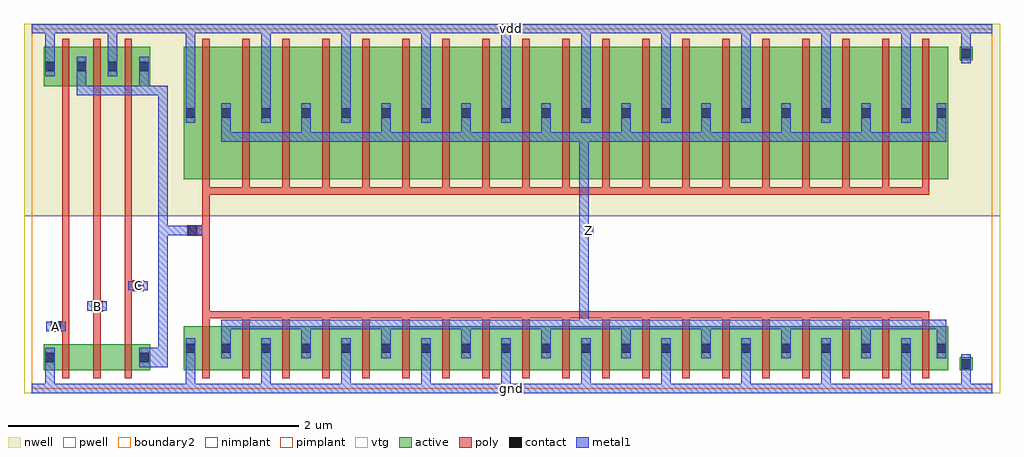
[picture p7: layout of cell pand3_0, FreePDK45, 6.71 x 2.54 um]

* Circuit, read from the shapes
.subckt pand3_0 A B C Z gnd vdd
M1 pnand3_0_0/nmos_m1_w0_180_sm1_dactive_3/D A gnd gnd nfet w=0.18u l=0.05u
M2 pnand3_0_0/nmos_m1_w0_180_sactive_dactive_4/D B pnand3_0_0/nmos_m1_w0_180_sm1_dactive_3/D gnd nfet w=0.18u l=0.05u
M3 pdriver_3_1/A C pnand3_0_0/nmos_m1_w0_180_sactive_dactive_4/D gnd nfet w=0.18u l=0.05u
M4 Z pdriver_3_1/A gnd gnd nfet w=0.3025u l=0.05u m=19
M5 pdriver_3_1/A A vdd vdd pfet w=0.27u l=0.05u
M6 vdd B pdriver_3_1/A vdd pfet w=0.27u l=0.05u
M7 pdriver_3_1/A C vdd vdd pfet w=0.27u l=0.05u
M8 Z pdriver_3_1/A vdd vdd pfet w=0.91u l=0.05u m=19
.ends

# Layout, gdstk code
import gdstk
lib = gdstk.Library(unit=1e-6, precision=5e-10)
def R(c, l, rs):  # rectangles x0, y0, x1, y1
    for r in rs: c.add(gdstk.rectangle(r[:2], r[2:], *l))
def A(c, l, x, y, w, h, nx, ny, dx, dy):  # array of equal rectangles
    R(c, l, [(x+i*dx, y+j*dy, x+i*dx+w, y+j*dy+h) for i in range(nx) for j in range(ny)])
active = (1, 0)
pwell = (2, 0)
nwell = (3, 0)
nimplant = (4, 0)
pimplant = (5, 0)
vtg = (6, 0)
poly = (9, 0)
contact = (10, 0)
metal1 = (11, 0)
boundary2 = (239, 0)

contact_10 = lib.new_cell('contact_10')
R(contact_10, active, [(0,0.0225,0.09,0.1125)])
R(contact_10, nwell, [(-0.055,-0.0325,0.145,0.1675)])
R(contact_10, pimplant, [(0,0.0225,0.09,0.1125)])
R(contact_10, contact, [(0.0125,0.035,0.0775,0.1)])
R(contact_10, metal1, [(0.0125,0,0.0775,0.135)])
R(contact_10, boundary2, [(-0.055,-0.0325,0.145,0.1675)])

pmos_m1_w0_270_sm1_dm1 = lib.new_cell('pmos_m1_w0_270_sm1_dm1')
R(pmos_m1_w0_270_sm1_dm1, active, [(0,0,0.305,0.27)])
R(pmos_m1_w0_270_sm1_dm1, nwell, [(-0.08,-0.08,0.385,0.35)])
R(pmos_m1_w0_270_sm1_dm1, pimplant, [(0,0,0.305,0.27)])
R(pmos_m1_w0_270_sm1_dm1, vtg, [(-0.08,-0.08,0.385,0.35)])
R(pmos_m1_w0_270_sm1_dm1, poly, [(0.1275,-0.055,0.1775,0.325), (0.1275,-0.055,0.1775,0.325)])
R(pmos_m1_w0_270_sm1_dm1, metal1, [(0.0125,0.0675,0.0775,0.2025), (0.2275,0.0675,0.2925,0.2025)])
R(pmos_m1_w0_270_sm1_dm1, boundary2, [(-0.08,-0.08,0.385,0.35)])
pmos_m1_w0_270_sm1_dm1.add(gdstk.Reference(contact_10, (0,0.0675)))
pmos_m1_w0_270_sm1_dm1.add(gdstk.Reference(contact_10, (0.215,0.0675)))
pmos_m1_w0_270_sm1_dm1.add(gdstk.Label('G', (0.1525,0.135), layer=9, texttype=0))
pmos_m1_w0_270_sm1_dm1.add(gdstk.Label('S', (0.045,0.135), layer=11, texttype=0))
pmos_m1_w0_270_sm1_dm1.add(gdstk.Label('D', (0.26,0.135), layer=11, texttype=0))

contact_9 = lib.new_cell('contact_9')
R(contact_9, active, [(0,0.0225,0.09,0.1125)])
R(contact_9, pwell, [(-0.055,-0.0325,0.145,0.1675)])
R(contact_9, nimplant, [(0,0.0225,0.09,0.1125)])
R(contact_9, contact, [(0.0125,0.035,0.0775,0.1)])
R(contact_9, metal1, [(0.0125,0,0.0775,0.135)])
R(contact_9, boundary2, [(-0.055,-0.0325,0.145,0.1675)])

nmos_m1_w0_180_sm1_dacti = lib.new_cell('nmos_m1_w0_180_sm1_dactive')
R(nmos_m1_w0_180_sm1_dacti, active, [(0,0,0.305,0.18), (0.215,0.045,0.305,0.135)])
R(nmos_m1_w0_180_sm1_dacti, pwell, [(-0.08,-0.08,0.385,0.26)])
R(nmos_m1_w0_180_sm1_dacti, nimplant, [(0,0,0.305,0.18)])
R(nmos_m1_w0_180_sm1_dacti, vtg, [(-0.08,-0.08,0.385,0.26)])
R(nmos_m1_w0_180_sm1_dacti, poly, [(0.1275,-0.055,0.1775,0.235), (0.1275,-0.055,0.1775,0.235)])
R(nmos_m1_w0_180_sm1_dacti, metal1, [(0.0125,0.0225,0.0775,0.1575)])
R(nmos_m1_w0_180_sm1_dacti, boundary2, [(-0.08,-0.08,0.385,0.26)])
nmos_m1_w0_180_sm1_dacti.add(gdstk.Reference(contact_9, (0,0.0225)))
nmos_m1_w0_180_sm1_dacti.add(gdstk.Label('G', (0.1525,0.09), layer=9, texttype=0))
nmos_m1_w0_180_sm1_dacti.add(gdstk.Label('S', (0.045,0.09), layer=11, texttype=0))
nmos_m1_w0_180_sm1_dacti.add(gdstk.Label('D', (0.26,0.09), layer=1, texttype=0))

nmos_m1_w0_180_sactive_d = lib.new_cell('nmos_m1_w0_180_sactive_dactive')
R(nmos_m1_w0_180_sactive_d, active, [(0,0,0.305,0.18), (0,0.045,0.09,0.135), (0.215,0.045,0.305,0.135)])
R(nmos_m1_w0_180_sactive_d, pwell, [(-0.08,-0.08,0.385,0.26)])
R(nmos_m1_w0_180_sactive_d, nimplant, [(0,0,0.305,0.18)])
R(nmos_m1_w0_180_sactive_d, vtg, [(-0.08,-0.08,0.385,0.26)])
R(nmos_m1_w0_180_sactive_d, poly, [(0.1275,-0.055,0.1775,0.235), (0.1275,-0.055,0.1775,0.235)])
R(nmos_m1_w0_180_sactive_d, boundary2, [(-0.08,-0.08,0.385,0.26)])
nmos_m1_w0_180_sactive_d.add(gdstk.Label('G', (0.1525,0.09), layer=9, texttype=0))
nmos_m1_w0_180_sactive_d.add(gdstk.Label('S', (0.045,0.09), layer=1, texttype=0))
nmos_m1_w0_180_sactive_d.add(gdstk.Label('D', (0.26,0.09), layer=1, texttype=0))

c_nmos_m1_w0_180_sactive_d = lib.new_cell('nmos_m1_w0_180_sactive_dm1')
R(c_nmos_m1_w0_180_sactive_d, active, [(0,0,0.305,0.18), (0,0.045,0.09,0.135)])
R(c_nmos_m1_w0_180_sactive_d, pwell, [(-0.08,-0.08,0.385,0.26)])
R(c_nmos_m1_w0_180_sactive_d, nimplant, [(0,0,0.305,0.18)])
R(c_nmos_m1_w0_180_sactive_d, vtg, [(-0.08,-0.08,0.385,0.26)])
R(c_nmos_m1_w0_180_sactive_d, poly, [(0.1275,-0.055,0.1775,0.235), (0.1275,-0.055,0.1775,0.235)])
R(c_nmos_m1_w0_180_sactive_d, metal1, [(0.2275,0.0225,0.2925,0.1575)])
R(c_nmos_m1_w0_180_sactive_d, boundary2, [(-0.08,-0.08,0.385,0.26)])
c_nmos_m1_w0_180_sactive_d.add(gdstk.Reference(contact_9, (0.215,0.0225)))
c_nmos_m1_w0_180_sactive_d.add(gdstk.Label('G', (0.1525,0.09), layer=9, texttype=0))
c_nmos_m1_w0_180_sactive_d.add(gdstk.Label('S', (0.045,0.09), layer=1, texttype=0))
c_nmos_m1_w0_180_sactive_d.add(gdstk.Label('D', (0.26,0.09), layer=11, texttype=0))

contact_13 = lib.new_cell('contact_13')
R(contact_13, poly, [(0.03,0,0.105,0.075)])
R(contact_13, contact, [(0.035,0.005,0.1,0.07)])
R(contact_13, metal1, [(0,0.005,0.135,0.07)])
R(contact_13, boundary2, [(0,0,0.135,0.075)])

pnand3_0 = lib.new_cell('pnand3_0')
R(pnand3_0, pwell, [(-0.055,-0.0325,1.02,1.1875)])
R(pnand3_0, nwell, [(-0.055,1.1875,1.02,2.51)])
R(pnand3_0, vtg, [(-0.055,-0.0325,1.02,1.1875), (-0.055,1.1875,1.02,2.51)])
A(pnand3_0, poly, 0.2075, 0.36, 0.05, 1.665, 3, 1, 0.215, 0)
R(pnand3_0, poly, [(0.165,0.39,0.2075,0.465), (0.4225,0.53,0.4475,0.605), (0.6375,0.67,0.73,0.745)])
R(pnand3_0, metal1, [(0,-0.0325,0.965,0.0325), (0.0925,-0.0325,0.1575,0.1475), (0.77,0.1475,0.9,0.2825), (0.8675,0.1475,0.9325,2.05), (0.0975,0.395,0.2325,0.46), (0.38,0.535,0.515,0.6), (0.6625,0.675,0.7975,0.74), (0.3075,2.0175,0.3725,2.0825), (0.34,2.0175,0.9,2.0825), (0.7375,2.0175,0.8025,2.0825), (0.77,2.0175,0.9,2.0825), (0.8675,2.0175,0.9325,2.0825), (0.3075,2.05,0.3725,2.215), (0.7375,2.05,0.8025,2.215), (0.0925,2.1475,0.1575,2.5075), (0.5225,2.1475,0.5875,2.5075), (0,2.4425,0.965,2.5075)])
R(pnand3_0, boundary2, [(0,0,0.965,2.475), (0,0,0.965,2.475)])
pnand3_0.add(gdstk.Reference(pmos_m1_w0_270_sm1_dm1, (0.08,2.08)))
pnand3_0.add(gdstk.Reference(pmos_m1_w0_270_sm1_dm1, (0.295,2.08)))
pnand3_0.add(gdstk.Reference(pmos_m1_w0_270_sm1_dm1, (0.51,2.08)))
pnand3_0.add(gdstk.Reference(nmos_m1_w0_180_sm1_dacti, (0.08,0.125)))
pnand3_0.add(gdstk.Reference(nmos_m1_w0_180_sactive_d, (0.295,0.125)))
pnand3_0.add(gdstk.Reference(c_nmos_m1_w0_180_sactive_d, (0.51,0.125)))
pnand3_0.add(gdstk.Reference(contact_13, (0.0975,0.39)))
pnand3_0.add(gdstk.Reference(contact_13, (0.38,0.53)))
pnand3_0.add(gdstk.Reference(contact_13, (0.6625,0.67)))
pnand3_0.add(gdstk.Label('A', (0.165,0.4275), layer=11, texttype=0))
pnand3_0.add(gdstk.Label('B', (0.4475,0.5675), layer=11, texttype=0))
pnand3_0.add(gdstk.Label('C', (0.73,0.7075), layer=11, texttype=0))
pnand3_0.add(gdstk.Label('Z', (0.9,2.05), layer=11, texttype=0))
pnand3_0.add(gdstk.Label('gnd', (0.4825,0), layer=11, texttype=0))
pnand3_0.add(gdstk.Label('vdd', (0.4825,2.475), layer=11, texttype=0))

pmos_m19_w0_910_sm1_dm1_ = lib.new_cell('pmos_m19_w0_910_sm1_dm1_da_p')
R(pmos_m19_w0_910_sm1_dm1_, active, [(0,0,5.255,0.91)])
R(pmos_m19_w0_910_sm1_dm1_, nwell, [(-0.08,-0.08,5.335,0.99)])
R(pmos_m19_w0_910_sm1_dm1_, pimplant, [(0,0,5.255,0.91)])
R(pmos_m19_w0_910_sm1_dm1_, vtg, [(-0.08,-0.08,5.335,0.99)])
A(pmos_m19_w0_910_sm1_dm1_, poly, 0.1275, -0.055, 0.05, 1.02, 19, 1, 0.275, 0)
R(pmos_m19_w0_910_sm1_dm1_, poly, [(0.1275,-0.105,5.1275,-0.055)])
A(pmos_m19_w0_910_sm1_dm1_, metal1, 0.2575, 0.29, 0.065, 0.165, 9, 1, 0.55, 0)
A(pmos_m19_w0_910_sm1_dm1_, metal1, 0.5325, 0.3875, 0.065, 0.135, 9, 1, 0.55, 0)
R(pmos_m19_w0_910_sm1_dm1_, metal1, [(0.2575,0.2575,5.2425,0.3225), (5.1775,0.29,5.2425,0.455), (0.0125,0.3875,0.0775,0.5225)])
R(pmos_m19_w0_910_sm1_dm1_, boundary2, [(-0.08,-0.08,5.335,0.99)])
pmos_m19_w0_910_sm1_dm1_.add(gdstk.Reference(contact_10, (0,0.3875)))
pmos_m19_w0_910_sm1_dm1_.add(gdstk.Reference(contact_10, (0.245,0.3875)))
pmos_m19_w0_910_sm1_dm1_.add(gdstk.Reference(contact_10, (0.52,0.3875)))
pmos_m19_w0_910_sm1_dm1_.add(gdstk.Reference(contact_10, (0.795,0.3875)))
pmos_m19_w0_910_sm1_dm1_.add(gdstk.Reference(contact_10, (1.07,0.3875)))
pmos_m19_w0_910_sm1_dm1_.add(gdstk.Reference(contact_10, (1.345,0.3875)))
pmos_m19_w0_910_sm1_dm1_.add(gdstk.Reference(contact_10, (1.62,0.3875)))
pmos_m19_w0_910_sm1_dm1_.add(gdstk.Reference(contact_10, (1.895,0.3875)))
pmos_m19_w0_910_sm1_dm1_.add(gdstk.Reference(contact_10, (2.17,0.3875)))
pmos_m19_w0_910_sm1_dm1_.add(gdstk.Reference(contact_10, (2.445,0.3875)))
pmos_m19_w0_910_sm1_dm1_.add(gdstk.Reference(contact_10, (2.72,0.3875)))
pmos_m19_w0_910_sm1_dm1_.add(gdstk.Reference(contact_10, (2.995,0.3875)))
pmos_m19_w0_910_sm1_dm1_.add(gdstk.Reference(contact_10, (3.27,0.3875)))
pmos_m19_w0_910_sm1_dm1_.add(gdstk.Reference(contact_10, (3.545,0.3875)))
pmos_m19_w0_910_sm1_dm1_.add(gdstk.Reference(contact_10, (3.82,0.3875)))
pmos_m19_w0_910_sm1_dm1_.add(gdstk.Reference(contact_10, (4.095,0.3875)))
pmos_m19_w0_910_sm1_dm1_.add(gdstk.Reference(contact_10, (4.37,0.3875)))
pmos_m19_w0_910_sm1_dm1_.add(gdstk.Reference(contact_10, (4.645,0.3875)))
pmos_m19_w0_910_sm1_dm1_.add(gdstk.Reference(contact_10, (4.92,0.3875)))
pmos_m19_w0_910_sm1_dm1_.add(gdstk.Reference(contact_10, (5.165,0.3875)))
pmos_m19_w0_910_sm1_dm1_.add(gdstk.Label('G', (2.6275,-0.08), layer=9, texttype=0))
pmos_m19_w0_910_sm1_dm1_.add(gdstk.Label('S', (3.315,0.455), layer=11, texttype=0))
pmos_m19_w0_910_sm1_dm1_.add(gdstk.Label('S', (1.115,0.455), layer=11, texttype=0))
pmos_m19_w0_910_sm1_dm1_.add(gdstk.Label('S', (0.045,0.455), layer=11, texttype=0))
pmos_m19_w0_910_sm1_dm1_.add(gdstk.Label('S', (2.765,0.455), layer=11, texttype=0))
pmos_m19_w0_910_sm1_dm1_.add(gdstk.Label('S', (4.415,0.455), layer=11, texttype=0))
pmos_m19_w0_910_sm1_dm1_.add(gdstk.Label('S', (2.215,0.455), layer=11, texttype=0))
pmos_m19_w0_910_sm1_dm1_.add(gdstk.Label('S', (1.665,0.455), layer=11, texttype=0))
pmos_m19_w0_910_sm1_dm1_.add(gdstk.Label('S', (3.865,0.455), layer=11, texttype=0))
pmos_m19_w0_910_sm1_dm1_.add(gdstk.Label('S', (4.965,0.455), layer=11, texttype=0))
pmos_m19_w0_910_sm1_dm1_.add(gdstk.Label('S', (0.565,0.455), layer=11, texttype=0))
pmos_m19_w0_910_sm1_dm1_.add(gdstk.Label('D', (2.75,0.29), layer=11, texttype=0))

nmos_m19_w0_302_sm1_dm1_ = lib.new_cell('nmos_m19_w0_302_sm1_dm1_da_p')
R(nmos_m19_w0_302_sm1_dm1_, active, [(0,0,5.255,0.3025)])
R(nmos_m19_w0_302_sm1_dm1_, pwell, [(-0.08,-0.08,5.335,0.3825)])
R(nmos_m19_w0_302_sm1_dm1_, nimplant, [(0,0,5.255,0.3025)])
R(nmos_m19_w0_302_sm1_dm1_, vtg, [(-0.08,-0.08,5.335,0.3825)])
A(nmos_m19_w0_302_sm1_dm1_, poly, 0.1275, -0.055, 0.05, 0.4125, 19, 1, 0.275, 0)
R(nmos_m19_w0_302_sm1_dm1_, poly, [(0.1275,0.3575,5.1275,0.4075)])
A(nmos_m19_w0_302_sm1_dm1_, metal1, 0.5325, 0.085, 0.065, 0.135, 9, 1, 0.55, 0)
A(nmos_m19_w0_302_sm1_dm1_, metal1, 0.2575, 0.15, 0.065, 0.165, 9, 1, 0.55, 0)
R(nmos_m19_w0_302_sm1_dm1_, metal1, [(0.0125,0.085,0.0775,0.22), (5.1775,0.15,5.2425,0.315), (0.2575,0.285,5.2425,0.35)])
R(nmos_m19_w0_302_sm1_dm1_, boundary2, [(-0.08,-0.08,5.335,0.3825)])
nmos_m19_w0_302_sm1_dm1_.add(gdstk.Reference(contact_9, (0,0.085)))
nmos_m19_w0_302_sm1_dm1_.add(gdstk.Reference(contact_9, (0.245,0.085)))
nmos_m19_w0_302_sm1_dm1_.add(gdstk.Reference(contact_9, (0.52,0.085)))
nmos_m19_w0_302_sm1_dm1_.add(gdstk.Reference(contact_9, (0.795,0.085)))
nmos_m19_w0_302_sm1_dm1_.add(gdstk.Reference(contact_9, (1.07,0.085)))
nmos_m19_w0_302_sm1_dm1_.add(gdstk.Reference(contact_9, (1.345,0.085)))
nmos_m19_w0_302_sm1_dm1_.add(gdstk.Reference(contact_9, (1.62,0.085)))
nmos_m19_w0_302_sm1_dm1_.add(gdstk.Reference(contact_9, (1.895,0.085)))
nmos_m19_w0_302_sm1_dm1_.add(gdstk.Reference(contact_9, (2.17,0.085)))
nmos_m19_w0_302_sm1_dm1_.add(gdstk.Reference(contact_9, (2.445,0.085)))
nmos_m19_w0_302_sm1_dm1_.add(gdstk.Reference(contact_9, (2.72,0.085)))
nmos_m19_w0_302_sm1_dm1_.add(gdstk.Reference(contact_9, (2.995,0.085)))
nmos_m19_w0_302_sm1_dm1_.add(gdstk.Reference(contact_9, (3.27,0.085)))
nmos_m19_w0_302_sm1_dm1_.add(gdstk.Reference(contact_9, (3.545,0.085)))
nmos_m19_w0_302_sm1_dm1_.add(gdstk.Reference(contact_9, (3.82,0.085)))
nmos_m19_w0_302_sm1_dm1_.add(gdstk.Reference(contact_9, (4.095,0.085)))
nmos_m19_w0_302_sm1_dm1_.add(gdstk.Reference(contact_9, (4.37,0.085)))
nmos_m19_w0_302_sm1_dm1_.add(gdstk.Reference(contact_9, (4.645,0.085)))
nmos_m19_w0_302_sm1_dm1_.add(gdstk.Reference(contact_9, (4.92,0.085)))
nmos_m19_w0_302_sm1_dm1_.add(gdstk.Reference(contact_9, (5.165,0.085)))
nmos_m19_w0_302_sm1_dm1_.add(gdstk.Label('G', (2.6275,0.3825), layer=9, texttype=0))
nmos_m19_w0_302_sm1_dm1_.add(gdstk.Label('S', (4.415,0.1525), layer=11, texttype=0))
nmos_m19_w0_302_sm1_dm1_.add(gdstk.Label('S', (0.565,0.1525), layer=11, texttype=0))
nmos_m19_w0_302_sm1_dm1_.add(gdstk.Label('S', (3.315,0.1525), layer=11, texttype=0))
nmos_m19_w0_302_sm1_dm1_.add(gdstk.Label('S', (0.045,0.1525), layer=11, texttype=0))
nmos_m19_w0_302_sm1_dm1_.add(gdstk.Label('S', (4.965,0.1525), layer=11, texttype=0))
nmos_m19_w0_302_sm1_dm1_.add(gdstk.Label('S', (2.215,0.1525), layer=11, texttype=0))
nmos_m19_w0_302_sm1_dm1_.add(gdstk.Label('S', (1.665,0.1525), layer=11, texttype=0))
nmos_m19_w0_302_sm1_dm1_.add(gdstk.Label('S', (3.865,0.1525), layer=11, texttype=0))
nmos_m19_w0_302_sm1_dm1_.add(gdstk.Label('S', (2.765,0.1525), layer=11, texttype=0))
nmos_m19_w0_302_sm1_dm1_.add(gdstk.Label('S', (1.115,0.1525), layer=11, texttype=0))
nmos_m19_w0_302_sm1_dm1_.add(gdstk.Label('D', (2.75,0.3175), layer=11, texttype=0))

contact_11 = lib.new_cell('contact_11')
R(contact_11, active, [(0,0.0225,0.09,0.1125)])
R(contact_11, nwell, [(-0.055,-0.0325,0.145,0.1675)])
R(contact_11, nimplant, [(0,0.0225,0.09,0.1125)])
R(contact_11, contact, [(0.0125,0.035,0.0775,0.1)])
R(contact_11, metal1, [(0.0125,0,0.0775,0.135)])
R(contact_11, boundary2, [(-0.055,-0.0325,0.145,0.1675)])

contact_12 = lib.new_cell('contact_12')
R(contact_12, active, [(0,0.0225,0.09,0.1125)])
R(contact_12, pwell, [(-0.055,-0.0325,0.145,0.1675)])
R(contact_12, pimplant, [(0,0.0225,0.09,0.1125)])
R(contact_12, contact, [(0.0125,0.035,0.0775,0.1)])
R(contact_12, metal1, [(0.0125,0,0.0775,0.135)])
R(contact_12, boundary2, [(-0.055,-0.0325,0.145,0.1675)])

pinv_18 = lib.new_cell('pinv_18')
R(pinv_18, pwell, [(-0.055,-0.0325,5.6925,1.1875)])
R(pinv_18, nwell, [(-0.055,1.1875,5.6925,2.51)])
R(pinv_18, vtg, [(-0.055,-0.0325,5.6925,1.1875), (-0.055,1.1875,5.6925,2.51)])
R(pinv_18, poly, [(0.2075,0.5325,0.2575,1.335), (0.14,1.05,0.2075,1.125)])
A(pinv_18, metal1, 0.6125, -0.0325, 0.065, 0.2425, 9, 1, 0.55, 0)
A(pinv_18, metal1, 0.6125, 1.8275, 0.065, 0.68, 9, 1, 0.55, 0)
R(pinv_18, metal1, [(0,-0.0325,5.6375,0.0325), (0.0925,-0.0325,0.1575,0.21), (5.4275,0,5.4925,0.17), (2.7975,0.41,2.8625,1.7625), (0.0725,1.055,0.2075,1.12), (2.83,1.055,2.895,1.12), (0.0925,1.8275,0.1575,2.5075), (5.4275,2.305,5.4925,2.475), (0,2.4425,5.6375,2.5075)])
R(pinv_18, boundary2, [(0,0,5.6375,2.475), (0,0,5.6375,2.475)])
pinv_18.add(gdstk.Reference(pmos_m19_w0_910_sm1_dm1_, (0.08,1.44)))
pinv_18.add(gdstk.Reference(nmos_m19_w0_302_sm1_dm1_, (0.08,0.125)))
pinv_18.add(gdstk.Reference(contact_11, (5.415,2.2375)))
pinv_18.add(gdstk.Reference(contact_12, (5.415,0.1025)))
pinv_18.add(gdstk.Reference(contact_13, (0.0725,1.05)))
pinv_18.add(gdstk.Label('A', (0.14,1.0875), layer=11, texttype=0))
pinv_18.add(gdstk.Label('Z', (2.8625,1.0875), layer=11, texttype=0))
pinv_18.add(gdstk.Label('gnd', (2.819,0), layer=11, texttype=0))
pinv_18.add(gdstk.Label('vdd', (2.819,2.475), layer=11, texttype=0))

pdriver_3 = lib.new_cell('pdriver_3')
R(pdriver_3, pwell, [(-0.055,-0.0325,5.6925,1.1875)])
R(pdriver_3, nwell, [(-0.055,1.1875,5.6925,2.51)])
R(pdriver_3, vtg, [(-0.055,-0.0325,5.6925,1.1875), (-0.055,1.1875,5.6925,2.51)])
R(pdriver_3, metal1, [(0,-0.0325,5.6375,0.0325), (0.0725,1.055,0.2075,1.12), (2.83,1.055,2.895,1.12), (0,2.4425,5.6375,2.5075)])
R(pdriver_3, boundary2, [(0,0,5.6375,2.475), (0,0,5.6375,2.475)])
pdriver_3.add(gdstk.Reference(pinv_18, (0,0)))
pdriver_3.add(gdstk.Label('Z', (2.8625,1.0875), layer=11, texttype=0))
pdriver_3.add(gdstk.Label('A', (0.14,1.0875), layer=11, texttype=0))
pdriver_3.add(gdstk.Label('gnd', (2.819,0), layer=11, texttype=0))
pdriver_3.add(gdstk.Label('vdd', (2.819,2.475), layer=11, texttype=0))

pand3_0 = lib.new_cell('pand3_0')
R(pand3_0, metal1, [(0,-0.0325,6.6025,0.0325), (0.0975,0.395,0.2325,0.46), (0.38,0.535,0.515,0.6), (0.6625,0.675,0.7975,0.74), (0.8675,1.055,0.9325,1.12), (0.9,1.055,1.105,1.12), (3.795,1.055,3.86,1.12), (0.8675,1.0875,0.9325,2.05), (0,2.4425,6.6025,2.5075)])
R(pand3_0, boundary2, [(0,0,6.6025,2.475), (0,0,6.6025,2.475)])
pand3_0.add(gdstk.Reference(pnand3_0, (0,0)))
pand3_0.add(gdstk.Reference(pdriver_3, (0.965,0)))
pand3_0.add(gdstk.Label('Z', (3.8275,1.0875), layer=11, texttype=0))
pand3_0.add(gdstk.Label('A', (0.165,0.4275), layer=11, texttype=0))
pand3_0.add(gdstk.Label('B', (0.4475,0.5675), layer=11, texttype=0))
pand3_0.add(gdstk.Label('C', (0.73,0.7075), layer=11, texttype=0))
pand3_0.add(gdstk.Label('gnd', (3.301,0), layer=11, texttype=0))
pand3_0.add(gdstk.Label('vdd', (3.301,2.475), layer=11, texttype=0))

lib.write_gds('pand3_0.gds')
